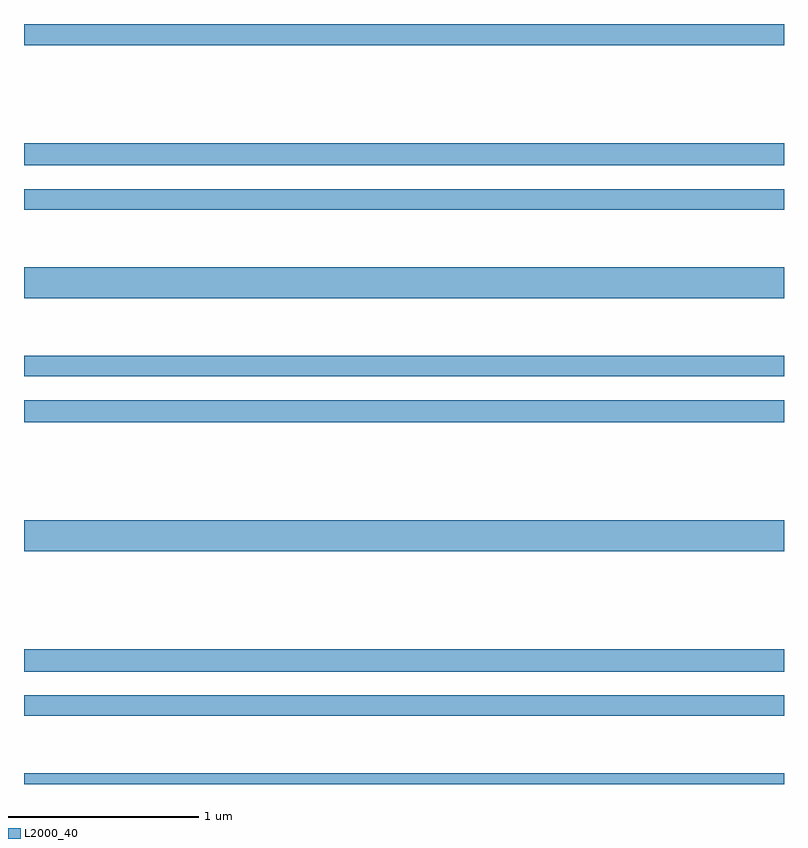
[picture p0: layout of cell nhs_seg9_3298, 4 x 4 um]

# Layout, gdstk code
import gdstk
lib = gdstk.Library(unit=1e-6, precision=1e-09)
def R(c, l, rs):  # rectangles x0, y0, x1, y1
    for r in rs: c.add(gdstk.rectangle(r[:2], r[2:], *l))
L2000_40 = (2000, 40)

nhs_seg9_3298 = lib.new_cell('nhs_seg9_3298')
R(nhs_seg9_3298, L2000_40, [(299,1224.5,303,1224.556), (299,1224.858,303,1224.966), (299,1225.092,303,1225.208), (299,1225.724,303,1225.888), (299,1226.404,303,1226.52), (299,1226.646,303,1226.755), (299,1227.056,303,1227.22), (299,1227.522,303,1227.63), (299,1227.756,303,1227.872), (299,1228.388,303,1228.5)])

lib.write_gds('nhs_seg9_3298.gds')
